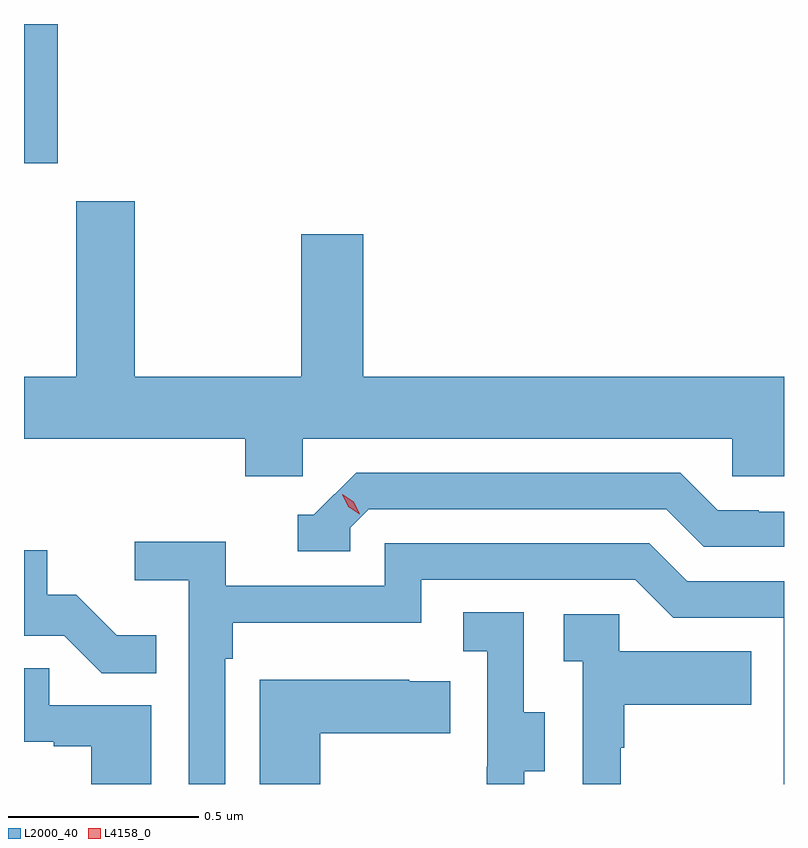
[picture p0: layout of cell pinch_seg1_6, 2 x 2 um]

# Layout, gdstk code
import gdstk
lib = gdstk.Library(unit=1e-6, precision=1e-09)
def R(c, l, rs):  # rectangles x0, y0, x1, y1
    for r in rs: c.add(gdstk.rectangle(r[:2], r[2:], *l))
def P(c, l, *ps):  # polygons
    for p in ps: c.add(gdstk.Polygon(p, *l))
L2000_40 = (2000, 40)
L4158_0 = (4158, 0)

pinch_seg1_6 = lib.new_cell('pinch_seg1_6')
R(pinch_seg1_6, L2000_40, [(1099.343,579.098,1099.432,579.464)])
P(pinch_seg1_6, L2000_40, [(1100.076,578.372),(1101.207,578.372),(1101.207,578.274),(1101.343,578.274),(1101.343,578.536),(1100.236,578.536),(1100.236,578.911),(1100.072,578.911),(1100.072,578.536),(1099.635,578.536),(1099.635,578.998),(1099.48,578.998),(1099.48,578.536),(1099.343,578.536),(1099.343,578.372),(1099.925,578.372),(1099.925,578.274),(1100.076,578.274)],
  [(1100.202,578.139),(1100.25,578.187),(1101.033,578.187),(1101.132,578.088),(1101.343,578.088),(1101.343,578.181),(1101.276,578.181),(1101.276,578.184),(1101.169,578.184),(1101.07,578.283),(1100.217,578.283),(1100.106,578.172),(1100.063,578.172),(1100.063,578.076),(1100.202,578.076)],
  [(1099.872,577.793),(1099.892,577.793),(1099.892,577.889),(1100.388,577.889),(1100.388,578.001),(1100.952,578.001),(1101.051,577.902),(1101.342,577.902),(1101.342,577.464),(1101.343,577.464),(1101.343,577.998),(1101.088,577.998),(1100.989,578.097),(1100.292,578.097),(1100.292,577.986),(1099.874,577.986),(1099.874,578.102),(1099.635,578.102),(1099.635,578),(1099.776,578),(1099.776,577.464),(1099.872,577.464)],
  [(1099.691,577.855),(1099.587,577.855),(1099.48,577.962),(1099.404,577.962),(1099.404,578.079),(1099.343,578.079),(1099.343,577.854),(1099.449,577.854),(1099.547,577.756),(1099.691,577.756)],
  [(1100.659,577.498),(1100.713,577.498),(1100.713,577.653),(1100.658,577.653),(1100.658,577.916),(1100.499,577.916),(1100.499,577.813),(1100.562,577.813),(1100.562,577.509),(1100.561,577.509),(1100.561,577.464),(1100.659,577.464)],
  [(1100.913,577.559),(1100.923,577.559),(1100.923,577.673),(1101.257,577.673),(1101.257,577.813),(1100.91,577.813),(1100.91,577.911),(1100.763,577.911),(1100.763,577.787),(1100.814,577.787),(1100.814,577.464),(1100.913,577.464)],
  [(1099.678,577.671),(1099.409,577.671),(1099.409,577.769),(1099.343,577.769),(1099.343,577.575),(1099.421,577.575),(1099.421,577.563),(1099.52,577.563),(1099.52,577.464),(1099.678,577.464)],
  [(1100.122,577.598),(1100.465,577.598),(1100.465,577.735),(1100.357,577.735),(1100.357,577.738),(1099.964,577.738),(1099.964,577.464),(1100.122,577.464)])
P(pinch_seg1_6, L4158_0, [(1100.227,578.174),(1100.196,578.194),(1100.18,578.226),(1100.18,578.226),(1100.181,578.226),(1100.211,578.207),(1100.227,578.175),(1100.227,578.174)])

lib.write_gds('pinch_seg1_6.gds')
